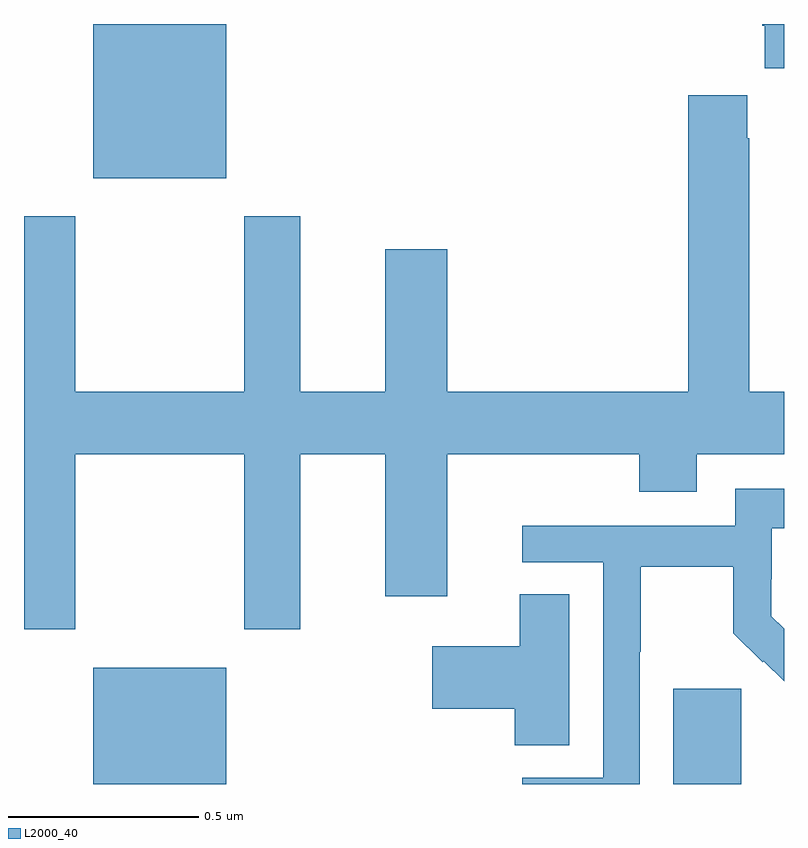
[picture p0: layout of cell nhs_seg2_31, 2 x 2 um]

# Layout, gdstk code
import gdstk
lib = gdstk.Library(unit=1e-6, precision=1e-09)
def R(c, l, rs):  # rectangles x0, y0, x1, y1
    for r in rs: c.add(gdstk.rectangle(r[:2], r[2:], *l))
def P(c, l, *ps):  # polygons
    for p in ps: c.add(gdstk.Polygon(p, *l))
L2000_40 = (2000, 40)

nhs_seg2_31 = lib.new_cell('nhs_seg2_31')
R(nhs_seg2_31, L2000_40, [(111.182,614.8,111.532,615.106), (112.709,614.8,112.888,615.051), (111.182,616.394,111.532,616.8)])
P(nhs_seg2_31, L2000_40, [(113,616.8),(112.943,616.8),(112.943,616.795),(112.949,616.795),(112.949,616.683),(113,616.683)],
  [(111.135,615.668),(111.58,615.668),(111.58,615.207),(111.727,615.207),(111.727,615.668),(111.95,615.668),(111.95,615.294),(112.114,615.294),(112.114,615.668),(112.619,615.668),(112.619,615.569),(112.771,615.569),(112.771,615.668),(113,615.668),(113,615.832),(112.908,615.832),(112.908,616.499),(112.903,616.499),(112.903,616.612),(112.748,616.612),(112.748,615.832),(112.114,615.832),(112.114,616.207),(111.95,616.207),(111.95,615.832),(111.727,615.832),(111.727,616.294),(111.58,616.294),(111.58,615.832),(111.135,615.832),(111.135,616.294),(111,616.294),(111,615.207),(111.135,615.207)],
  [(112.62,615.148),(112.623,615.148),(112.623,615.372),(112.867,615.372),(112.867,615.197),(112.944,615.12),(112.947,615.123),(113,615.071),(113,615.208),(112.966,615.242),(112.966,615.339),(112.968,615.339),(112.968,615.473),(113,615.473),(113,615.577),(112.872,615.577),(112.872,615.48),(112.311,615.48),(112.311,615.384),(112.524,615.384),(112.524,614.817),(112.311,614.817),(112.311,614.8),(112.62,614.8)],
  [(112.435,615.299),(112.304,615.299),(112.304,615.163),(112.074,615.163),(112.074,614.998),(112.292,614.998),(112.292,614.902),(112.435,614.902)])

lib.write_gds('nhs_seg2_31.gds')
